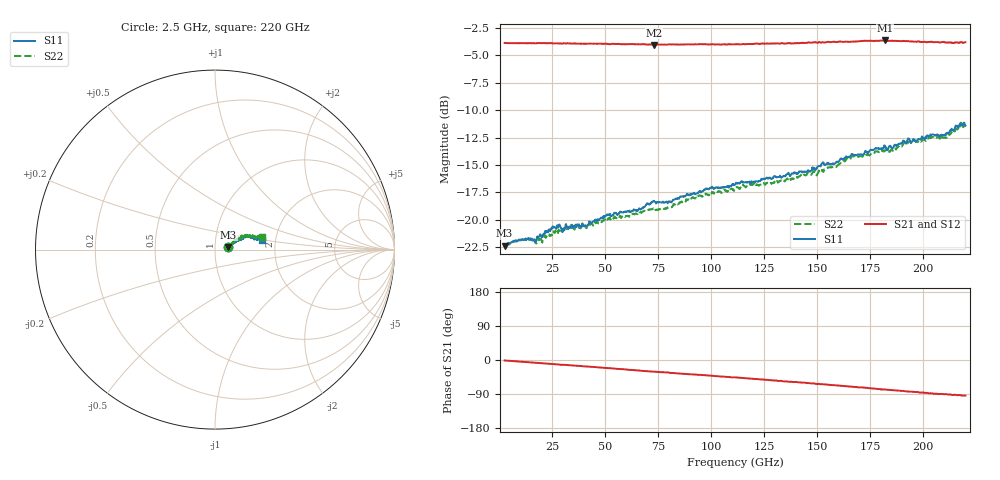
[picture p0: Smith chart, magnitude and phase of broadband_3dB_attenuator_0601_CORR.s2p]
!Created with skrf (http://scikit-rf.org).
# Hz S RI R 50.0
!freq ReS11 ImS11 ReS21 ImS21 ReS12 ImS12 ReS22 ImS22
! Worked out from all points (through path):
!   871 points, 2.5 GHz to 220 GHz, reference 50 ohm
!   highest |S21| = -3.63 dB at 182 GHz (marker M1); lowest = -4.0 dB at 73 GHz (marker M2)
!   group delay of S21, straight-line fit = 1.19 ps
!   lowest |S11| = -22.4 dB at 2.5 GHz (marker M3), VSWR 1.16, Z = 58 + j1.73 ohm
!   |S11| at or under -10 dB: start of sweep to end of sweep
!   |S22| runs from -22.4 to -11.1 dB; largest |S21 - S12| = 0.025
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2.5e9  0.0745 0.0149  0.6411 -0.0142  0.6411 -0.0148  0.0743 0.0141
1.25e10  0.0809 0.0115  0.6374 -0.0605  0.6376 -0.0594  0.0812 0.0117
1.65e10  0.0799 0.0146  0.6357 -0.0786  0.6356 -0.0789  0.08 0.0132
2.8e10  0.0913 0.0251  0.6252 -0.1291  0.6274 -0.1311  0.0865 0.0243
3e10  0.0845 0.0248  0.6212 -0.1406  0.6237 -0.1401  0.0856 0.024
3.875e10  0.0888 0.0261  0.6122 -0.1758  0.6105 -0.1813  0.0892 0.0266
5.15e10  0.0997 0.033  0.5883 -0.234  0.5896 -0.2331  0.0952 0.0324
6.575e10  0.1045 0.0388  0.5599 -0.2932  0.5638 -0.2919  0.1016 0.0391
7.3e10  0.1143 0.0419  0.5391 -0.323  0.5453 -0.3145  0.1036 0.0412
7.5e10  0.1125 0.0425  0.5371 -0.3313  0.5427 -0.3234  0.1028 0.0417
8.05e10  0.1124 0.0435  0.523 -0.3543  0.5324 -0.3415  0.1058 0.0439
9.45e10  0.1238 0.0514  0.4904 -0.4002  0.492 -0.401  0.1181 0.0521
1.1125e11  0.1329 0.0568  0.4412 -0.4535  0.4375 -0.4602  0.1247 0.0576
1.475e11  0.1546 0.0676  0.3037 -0.5662  0.306 -0.5646  0.1463 0.0683
1.5225e11  0.1628 0.0776  0.2854 -0.5777  0.2865 -0.5798  0.1491 0.0782
1.5875e11  0.167 0.0708  0.2543 -0.5951  0.2555 -0.5964  0.1589 0.0735
1.6725e11  0.1828 0.0736  0.2119 -0.6154  0.2158 -0.6152  0.1775 0.0799
1.82e11  0.2047 0.0713  0.1424 -0.6427  0.1347 -0.6439  0.1936 0.0739
1.8375e11  0.202 0.0691  0.128 -0.6433  0.1293 -0.6436  0.1917 0.0715
1.935e11  0.225 0.063  0.0752 -0.6482  0.0777 -0.6483  0.2146 0.0762
2.1025e11  0.2356 0.0614  -0.00241 -0.6462  -0.00673 -0.6467  0.2266 0.0676
2.2e11  0.2635 0.052  -0.0454 -0.6449  -0.0521 -0.6427  0.2646 0.0677
